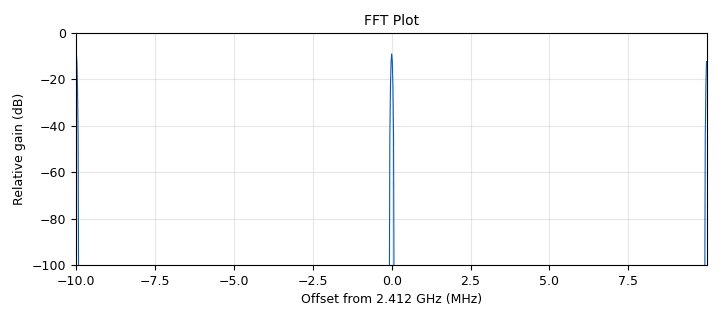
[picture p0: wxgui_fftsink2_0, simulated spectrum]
<?xml version='1.0' encoding='utf-8'?>
<?grc format='1' created='3.7.10'?>
<flow_graph>
<block>
<key>options</key>
<param><key>id</key><value>tx_fft</value></param>
<param><key>generate_options</key><value>wx_gui</value></param>
</block>
<block>
<key>variable_slider</key>
<param><key>id</key><value>center_f</value></param>
<param><key>converver</key><value>float_converter</value></param>
<param><key>value</key><value>2412e6</value></param>
<param><key>label</key><value></value></param>
<param><key>max</key><value>2462e6</value></param>
<param><key>min</key><value>2412e6</value></param>
<param><key>num_steps</key><value>10</value></param>
<param><key>style</key><value>wx.SL_HORIZONTAL</value></param>
</block>
<block>
<key>variable</key>
<param><key>id</key><value>samp_rate</value></param>
<param><key>value</key><value>20e6</value></param>
</block>
<block>
<key>blocks_vector_source_x</key>
<param><key>id</key><value>blocks_vector_source_x_0</value></param>
<param><key>type</key><value>complex</value></param>
<param><key>repeat</key><value>True</value></param>
<param><key>vector</key><value>(0, 1, 0, 1)</value></param>
</block>
<block>
<key>osmosdr_sink</key>
<param><key>id</key><value>osmosdr_sink_0</value></param>
<param><key>bb_gain0</key><value>20</value></param>
<param><key>freq0</key><value>center_f</value></param>
<param><key>if_gain0</key><value>20</value></param>
<param><key>gain0</key><value>9</value></param>
<param><key>args</key><value></value></param>
<param><key>type</key><value>fc32</value></param>
<param><key>sample_rate</key><value>samp_rate</value></param>
<param><key>sync</key><value></value></param>
</block>
<block>
<key>wxgui_fftsink2</key>
<param><key>id</key><value>wxgui_fftsink2_0</value></param>
<param><key>avg_alpha</key><value>0</value></param>
<param><key>average</key><value>False</value></param>
<param><key>baseband_freq</key><value>center_f</value></param>
<param><key>fft_size</key><value>1024</value></param>
<param><key>freqvar</key><value>None</value></param>
<param><key>peak_hold</key><value>False</value></param>
<param><key>ref_level</key><value>0</value></param>
<param><key>ref_scale</key><value>2.0</value></param>
<param><key>fft_rate</key><value>15</value></param>
<param><key>samp_rate</key><value>samp_rate</value></param>
<param><key>title</key><value>FFT Plot</value></param>
<param><key>type</key><value>complex</value></param>
<param><key>win_size</key><value>1000,600</value></param>
<param><key>win</key><value>None</value></param>
<param><key>y_divs</key><value>10</value></param>
<param><key>y_per_div</key><value>10</value></param>
</block>
<connection><source_block_id>blocks_vector_source_x_0</source_block_id><sink_block_id>osmosdr_sink_0</sink_block_id><source_key>0</source_key><sink_key>0</sink_key></connection>
<connection><source_block_id>blocks_vector_source_x_0</source_block_id><sink_block_id>wxgui_fftsink2_0</sink_block_id><source_key>0</source_key><sink_key>0</sink_key></connection>
</flow_graph>
